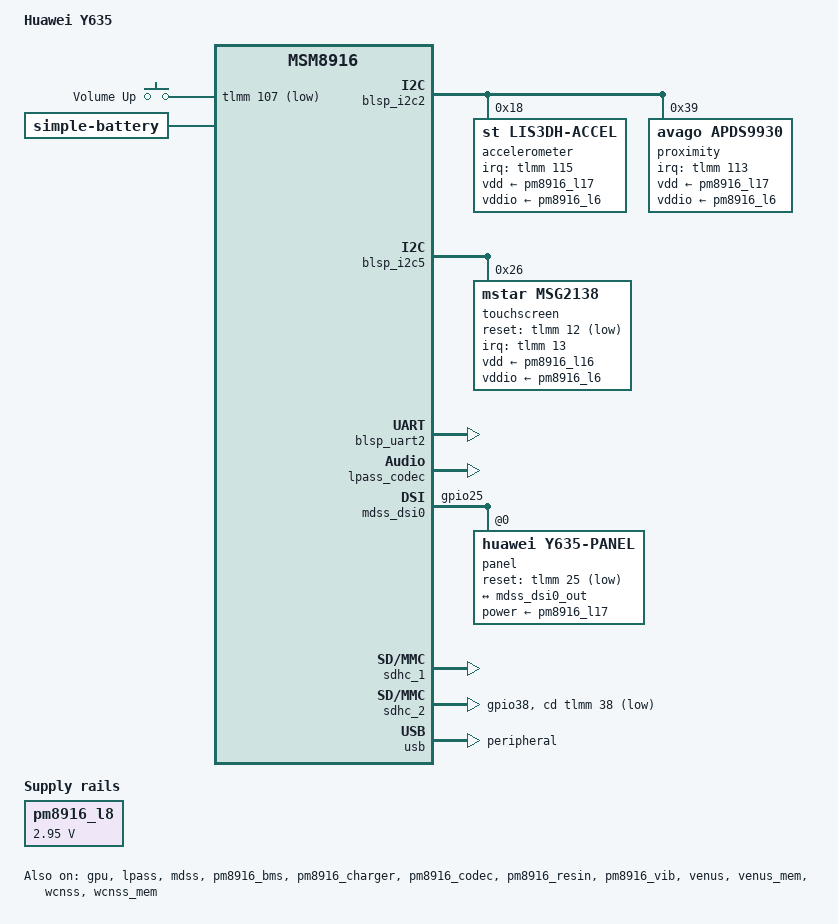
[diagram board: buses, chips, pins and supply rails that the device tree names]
// SPDX-License-Identifier: GPL-2.0-only

/dts-v1/;

#include "msm8916-pm8916.dtsi"
#include <dt-bindings/gpio/gpio.h>
#include <dt-bindings/sound/apq8016-lpass.h>

/ {
	model = "Huawei Y635";
	compatible = "huawei,y635", "qcom,msm8916";
	chassis-type = "handset";

	aliases {
		mmc0 = &sdhc_1; /* eMMC */
		mmc1 = &sdhc_2; /* SD card */
		serial0 = &blsp_uart2;
	};

	chosen {
		stdout-path = "serial0";
	};

	gpio-keys {
		compatible = "gpio-keys";

		pinctrl-0 = <&gpio_keys_default>;
		pinctrl-names = "default";

		label = "GPIO Buttons";

		volume-up-button {
			label = "Volume Up";
			gpios = <&tlmm 107 GPIO_ACTIVE_LOW>;
			linux,code = <KEY_VOLUMEUP>;
		};
	};

	bat: battery {
		compatible = "simple-battery";
		voltage-min-design-microvolt = <3400000>;
		voltage-max-design-microvolt = <4350000>;
		energy-full-design-microwatt-hours = <7600000>;
		charge-full-design-microamp-hours = <2000000>;

		ocv-capacity-celsius = <25>;
		ocv-capacity-table-0 = <4331000 100>, <4261000 95>, <4204000 90>,
			<4152000 85>, <4102000 80>, <4060000 75>, <3998000 70>,
			<3964000 65>, <3924000 60>, <3874000 55>, <3842000 50>,
			<3820000 45>, <3800000 40>, <3785000 35>, <3720000 30>,
			<3758000 25>, <3735000 20>, <3706000 16>, <3690000 13>,
			<3687000 11>, <3686000 10>, <3684000 9>, <3680000 8>,
			<3668000 7>, <3640000 6>, <3596000 5>, <3542000 4>,
			<3472000 3>, <3378000 2>, <3239000 1>, <3000000 0>;
	};
};

&blsp_i2c2 {
	status = "okay";

	accelerometer@18 {
		compatible = "st,lis3dh-accel";
		reg = <0x18>;
		interrupt-parent = <&tlmm>;
		interrupts = <115 IRQ_TYPE_EDGE_RISING>;

		vdd-supply = <&pm8916_l17>;
		vddio-supply = <&pm8916_l6>;

		pinctrl-0 = <&accel_int_default>;
		pinctrl-names = "default";

		mount-matrix =	"0", "-1", "0",
				"-1", "0", "0",
				"0", "0", "1";
	};

	proximity@39 {
		compatible = "avago,apds9930";
		reg = <0x39>;

		interrupt-parent = <&tlmm>;
		interrupts = <113 IRQ_TYPE_EDGE_FALLING>;

		vdd-supply = <&pm8916_l17>;
		vddio-supply = <&pm8916_l6>;

		led-max-microamp = <100000>;
		amstaos,proximity-diodes = <1>;

		pinctrl-0 = <&prox_irq_default>;
		pinctrl-names = "default";
	};
};

&blsp_i2c5 {
	status = "okay";

	touchscreen@26 {
		compatible = "mstar,msg2138";
		reg = <0x26>;

		interrupt-parent = <&tlmm>;
		interrupts = <13 IRQ_TYPE_EDGE_FALLING>;

		reset-gpios = <&tlmm 12 GPIO_ACTIVE_LOW>;
		pinctrl-0 = <&ts_int_reset_default>;
		pinctrl-names = "default";

		vdd-supply = <&pm8916_l16>;
		vddio-supply = <&pm8916_l6>;

		touchscreen-size-x = <2048>;
		touchscreen-size-y = <2048>;

		linux,keycodes = <KEY_BACK KEY_APPSELECT KEY_HOMEPAGE>;
	};
};

&blsp_uart2 {
	status = "okay";
};

&gpu {
	status = "okay";
};

&lpass {
	status = "okay";
};

&lpass_codec {
	status = "okay";
};

&mdss {
	status = "okay";
};

&mdss_dsi0 {
	pinctrl-0 = <&mdss_default>;
	pinctrl-1 = <&mdss_sleep>;
	pinctrl-names = "default", "sleep";

	panel@0 {
		compatible = "huawei,y635-panel";
		reg = <0>;

		power-supply = <&pm8916_l17>;
		reset-gpios = <&tlmm 25 GPIO_ACTIVE_LOW>;

		port {
			panel_in: endpoint {
				remote-endpoint = <&mdss_dsi0_out>;
			};
		};
	};
};

&mdss_dsi0_out {
	data-lanes = <1 2>;
	remote-endpoint = <&panel_in>;
};

&mdss_dsi0_phy {
	qcom,dsi-phy-regulator-ldo-mode;
};

&pm8916_bms {
	monitored-battery = <&bat>;
	power-supplies = <&pm8916_charger>;
	status = "okay";
};

&pm8916_charger {
	qcom,fast-charge-safe-current = <700000>;
	qcom,fast-charge-safe-voltage = <4300000>;

	monitored-battery = <&bat>;
	status = "okay";
};

&pm8916_codec {
	qcom,micbias-lvl = <2800>;
	qcom,mbhc-vthreshold-low = <75 150 237 450 500>;
	qcom,mbhc-vthreshold-high = <75 150 237 450 500>;
	qcom,hphl-jack-type-normally-open;
	status = "okay";
};

&pm8916_l8 {
	regulator-min-microvolt = <2950000>;
	regulator-max-microvolt = <2950000>;
};

&pm8916_resin {
	linux,code = <KEY_VOLUMEDOWN>;
	status = "okay";
};

&pm8916_rpm_regulators {
	pm8916_l16: l16 {
		regulator-min-microvolt = <2850000>;
		regulator-max-microvolt = <2850000>;
	};

	pm8916_l17: l17 {
		regulator-min-microvolt = <2850000>;
		regulator-max-microvolt = <2850000>;
	};
};

&pm8916_vib {
	status = "okay";
};

&sdhc_1 {
	status = "okay";
};

&sdhc_2 {
	pinctrl-0 = <&sdc2_default &sdc2_cd_default>;
	pinctrl-1 = <&sdc2_sleep &sdc2_cd_default>;
	pinctrl-names = "default", "sleep";

	cd-gpios = <&tlmm 38 GPIO_ACTIVE_LOW>;

	status = "okay";
};

&sound {
	pinctrl-0 = <&cdc_pdm_default>;
	pinctrl-1 = <&cdc_pdm_sleep>;
	pinctrl-names = "default", "sleep";

	model = "msm8916";
	audio-routing =
		"AMIC1", "MIC BIAS External1",
		"AMIC2", "MIC BIAS Internal2",
		"AMIC3", "MIC BIAS External1";

	status = "okay";

	dai-link-primary {
		link-name = "Primary MI2S";

		cpu {
			sound-dai = <&lpass MI2S_PRIMARY>;
		};

		codec {
			sound-dai = <&lpass_codec 0>, <&pm8916_codec 0>;
		};
	};

	dai-link-tertiary {
		link-name = "Tertiary MI2S";

		cpu {
			sound-dai = <&lpass MI2S_TERTIARY>;
		};

		codec {
			sound-dai = <&lpass_codec 1>, <&pm8916_codec 1>;
		};
	};
};

&usb {
	extcon = <&pm8916_charger>;
	dr_mode = "peripheral";
	status = "okay";
};

&usb_hs_phy {
	extcon = <&pm8916_charger>;
};

&venus {
	status = "okay";
};

&venus_mem {
	status = "okay";
};

&wcnss {
	status = "okay";
};

&wcnss_iris {
	compatible = "qcom,wcn3620";
};

&wcnss_mem {
	status = "okay";
};

&tlmm {
	accel_int_default: accel-int-default-state {
		pins = "gpio112";
		function = "gpio";
		drive-strength = <2>;
		bias-disable;
	};

	gpio_keys_default: gpio-keys-default-state {
		pins = "gpio107";
		function = "gpio";
		drive-strength = <2>;
		bias-pull-up;
	};

	mdss_default: mdss-default-state {
		pins = "gpio25";
		function = "gpio";
		drive-strength = <8>;
		bias-disable;
	};

	mdss_sleep: mdss-sleep-state {
		pins = "gpio25";
		function = "gpio";
		drive-strength = <2>;
		bias-pull-down;
	};

	prox_irq_default: prox-irq-default-state {
		pins = "gpio113";
		function = "gpio";
		drive-strength = <2>;
		bias-disable;
	};

	sdc2_cd_default: sdc2-cd-default-state {
		pins = "gpio38";
		function = "gpio";
		drive-strength = <2>;
		bias-disable;
	};

	ts_int_reset_default: ts-int-reset-default-state {
		pins = "gpio12", "gpio13";
		function = "gpio";
		drive-strength = <2>;
		bias-disable;
	};
};
